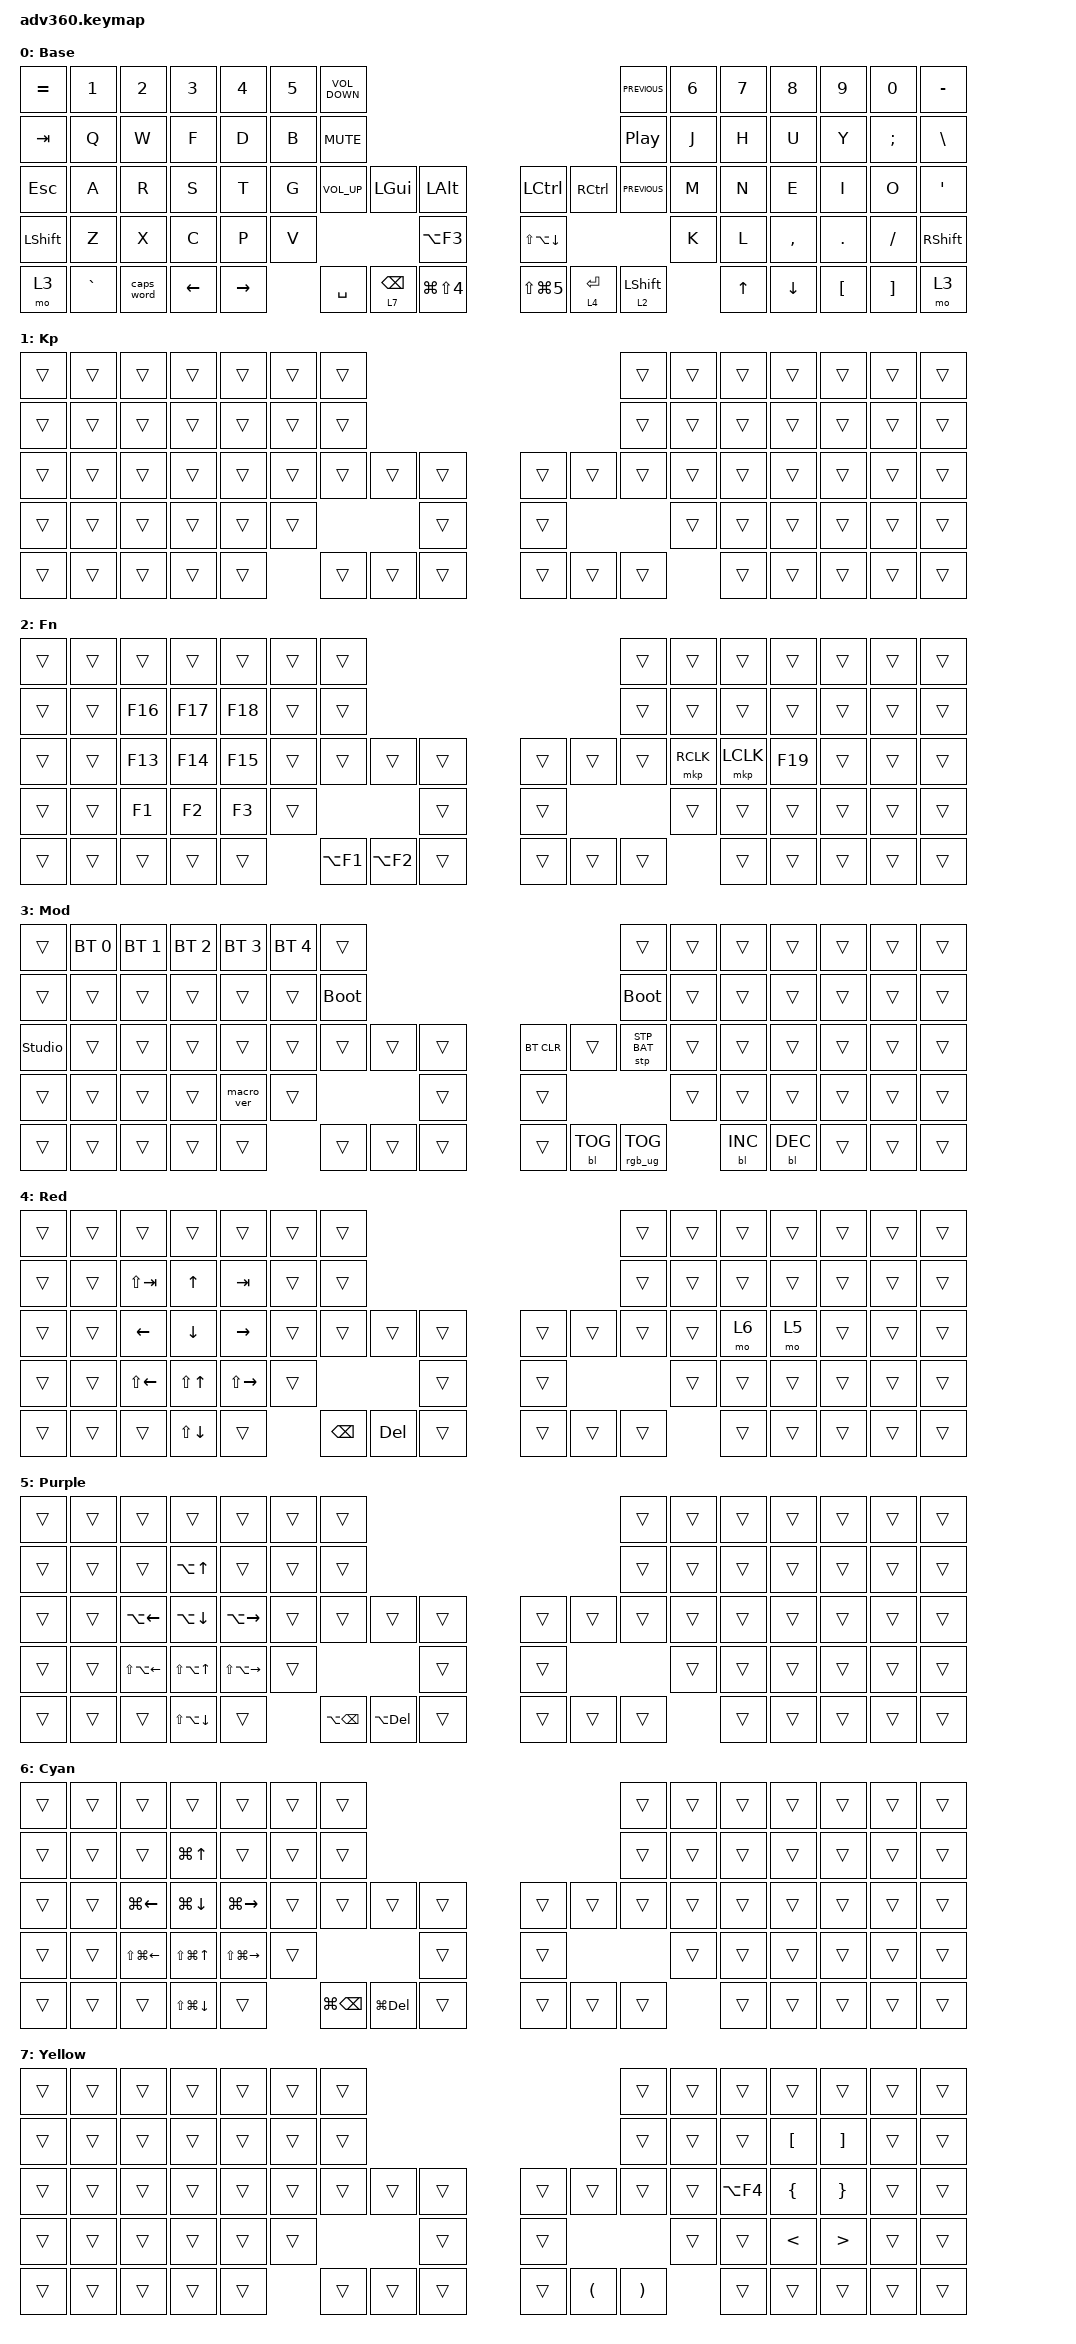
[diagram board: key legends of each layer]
#include <dt-bindings/zmk/stp.h>
#include <behaviors.dtsi>
#include <dt-bindings/zmk/backlight.h>
#include <dt-bindings/zmk/bt.h>
#include <dt-bindings/zmk/keys.h>
#include <dt-bindings/zmk/pointing.h>
#include <dt-bindings/zmk/rgb.h>

/ {
    behaviors {
        #include "macros.dtsi"
        #include "version.dtsi"
    };

    keymap {
        compatible = "zmk,keymap";

        default_layer {
            display-name = "Base";
            bindings = <
&kp EQUAL  &kp N1     &kp N2      &kp N3    &kp N4     &kp N5  &kp C_VOLUME_DOWN                                                                                 &kp C_PREVIOUS    &kp N6  &kp N7  &kp N8     &kp N9    &kp N0    &kp MINUS
&kp TAB    &kp Q      &kp W       &kp F     &kp D      &kp B   &kp K_MUTE                                                                                        &kp C_PLAY_PAUSE  &kp J   &kp H   &kp U      &kp Y     &kp SEMI  &kp BSLH
&kp ESC    &kp A      &kp R       &kp S     &kp T      &kp G   &kp C_VOLUME_UP    &kp LGUI         &kp LALT                  &kp LCTRL             &kp RCTRL     &kp C_PREVIOUS    &kp M   &kp N   &kp E      &kp I     &kp O     &kp SQT
&kp LSHFT  &kp Z      &kp X       &kp C     &kp P      &kp V                                       &kp LA(F3)                &kp LS(LA(DOWN))                                      &kp K   &kp L   &kp COMMA  &kp DOT   &kp FSLH  &kp RSHFT
&mo 3      &kp GRAVE  &caps_word  &kp LEFT  &kp RIGHT          &kp SPACE          &lt 7 BACKSPACE  &kp LG(LS(NUMBER_4))      &kp LS(LG(NUMBER_5))  &lt 4 RETURN  &lt 2 LSHIFT              &kp UP  &kp DOWN   &kp LBKT  &kp RBKT  &mo 3
            >;
        };

        whatever {
            display-name = "Kp";
            bindings = <
&trans  &trans  &trans  &trans  &trans  &trans  &trans                                      &trans  &trans  &trans  &trans  &trans  &trans  &trans
&trans  &trans  &trans  &trans  &trans  &trans  &trans                                      &trans  &trans  &trans  &trans  &trans  &trans  &trans
&trans  &trans  &trans  &trans  &trans  &trans  &trans  &trans  &trans      &trans  &trans  &trans  &trans  &trans  &trans  &trans  &trans  &trans
&trans  &trans  &trans  &trans  &trans  &trans                  &trans      &trans                  &trans  &trans  &trans  &trans  &trans  &trans
&trans  &trans  &trans  &trans  &trans          &trans  &trans  &trans      &trans  &trans  &trans          &trans  &trans  &trans  &trans  &trans
            >;
        };

        mouse {
            display-name = "Fn";
            bindings = <
&trans  &trans  &trans   &trans   &trans   &trans  &trans                                              &trans  &trans     &trans     &trans   &trans  &trans  &trans
&trans  &trans  &kp F16  &kp F17  &kp F18  &trans  &trans                                              &trans  &trans     &trans     &trans   &trans  &trans  &trans
&trans  &trans  &kp F13  &kp F14  &kp F15  &trans  &trans      &trans      &trans      &trans  &trans  &trans  &mkp RCLK  &mkp LCLK  &kp F19  &trans  &trans  &trans
&trans  &trans  &kp F1   &kp F2   &kp F3   &trans                          &trans      &trans                  &trans     &trans     &trans   &trans  &trans  &trans
&trans  &trans  &trans   &trans   &trans           &kp LA(F1)  &kp LA(F2)  &trans      &trans  &trans  &trans             &trans     &trans   &trans  &trans  &trans
            >;
        };

        mod {
            display-name = "Mod";
            bindings = <
&trans          &bt BT_SEL 0  &bt BT_SEL 1  &bt BT_SEL 2  &bt BT_SEL 3  &bt BT_SEL 4  &trans                                                   &trans           &trans  &trans      &trans      &trans  &trans  &trans
&trans          &trans        &trans        &trans        &trans        &trans        &bootloader                                              &bootloader      &trans  &trans      &trans      &trans  &trans  &trans
&studio_unlock  &trans        &trans        &trans        &trans        &trans        &trans       &trans  &trans      &bt BT_CLR  &trans      &stp STP_BAT     &trans  &trans      &trans      &trans  &trans  &trans
&trans          &trans        &trans        &trans        &macro_ver    &trans                             &trans      &trans                                   &trans  &trans      &trans      &trans  &trans  &trans
&trans          &trans        &trans        &trans        &trans                      &trans       &trans  &trans      &trans      &bl BL_TOG  &rgb_ug RGB_TOG          &bl BL_INC  &bl BL_DEC  &trans  &trans  &trans
            >;
        };

        move_single {
            display-name = "Red";
            bindings = <
&trans  &trans  &trans        &trans        &trans         &trans  &trans                                         &trans  &trans  &trans  &trans  &trans  &trans  &trans
&trans  &trans  &kp LS(TAB)   &kp UP        &kp TAB        &trans  &trans                                         &trans  &trans  &trans  &trans  &trans  &trans  &trans
&trans  &trans  &kp LEFT      &kp DOWN      &kp RIGHT      &trans  &trans    &trans   &trans      &trans  &trans  &trans  &trans  &mo 6   &mo 5   &trans  &trans  &trans
&trans  &trans  &kp LS(LEFT)  &kp LS(UP)    &kp LS(RIGHT)  &trans                     &trans      &trans                  &trans  &trans  &trans  &trans  &trans  &trans
&trans  &trans  &trans        &kp LS(DOWN)  &trans                 &kp BSPC  &kp DEL  &trans      &trans  &trans  &trans          &trans  &trans  &trans  &trans  &trans
            >;
        };

        move_word {
            display-name = "Purple";
            bindings = <
&trans  &trans  &trans            &trans            &trans             &trans  &trans                                                 &trans  &trans  &trans  &trans  &trans  &trans  &trans
&trans  &trans  &trans            &kp LA(UP)        &trans             &trans  &trans                                                 &trans  &trans  &trans  &trans  &trans  &trans  &trans
&trans  &trans  &kp LA(LEFT)      &kp LA(DOWN)      &kp LA(RIGHT)      &trans  &trans        &trans       &trans      &trans  &trans  &trans  &trans  &trans  &trans  &trans  &trans  &trans
&trans  &trans  &kp LS(LA(LEFT))  &kp LS(LA(UP))    &kp LS(LA(RIGHT))  &trans                             &trans      &trans                  &trans  &trans  &trans  &trans  &trans  &trans
&trans  &trans  &trans            &kp LS(LA(DOWN))  &trans                     &kp LA(BSPC)  &kp LA(DEL)  &trans      &trans  &trans  &trans          &trans  &trans  &trans  &trans  &trans
            >;
        };

        move_line {
            display-name = "Cyan";
            bindings = <
&trans  &trans  &trans            &trans            &trans             &trans  &trans                                                         &trans  &trans  &trans  &trans  &trans  &trans  &trans
&trans  &trans  &trans            &kp LG(UP)        &trans             &trans  &trans                                                         &trans  &trans  &trans  &trans  &trans  &trans  &trans
&trans  &trans  &kp LG(LEFT)      &kp LG(DOWN)      &kp LG(RIGHT)      &trans  &trans             &trans          &trans      &trans  &trans  &trans  &trans  &trans  &trans  &trans  &trans  &trans
&trans  &trans  &kp LS(LG(LEFT))  &kp LS(LG(UP))    &kp LS(LG(RIGHT))  &trans                                     &trans      &trans                  &trans  &trans  &trans  &trans  &trans  &trans
&trans  &trans  &trans            &kp LS(LG(DOWN))  &trans                     &kp LG(BACKSPACE)  &kp LG(DELETE)  &trans      &trans  &trans  &trans          &trans  &trans  &trans  &trans  &trans
            >;
        };

        symbol {
            display-name = "Yellow";
            bindings = <
&trans  &trans  &trans  &trans  &trans  &trans  &trans                                                    &trans                 &trans  &trans      &trans          &trans            &trans  &trans
&trans  &trans  &trans  &trans  &trans  &trans  &trans                                                    &trans                 &trans  &trans      &kp LBKT        &kp RBKT          &trans  &trans
&trans  &trans  &trans  &trans  &trans  &trans  &trans  &trans  &trans      &trans  &trans                &trans                 &trans  &kp LA(F4)  &kp LEFT_BRACE  &kp RIGHT_BRACE   &trans  &trans
&trans  &trans  &trans  &trans  &trans  &trans                  &trans      &trans                                               &trans  &trans      &kp LESS_THAN   &kp GREATER_THAN  &trans  &trans
&trans  &trans  &trans  &trans  &trans          &trans  &trans  &trans      &trans  &kp LEFT_PARENTHESIS  &kp RIGHT_PARENTHESIS          &trans      &trans          &trans            &trans  &trans
            >;
        };
    };
};
